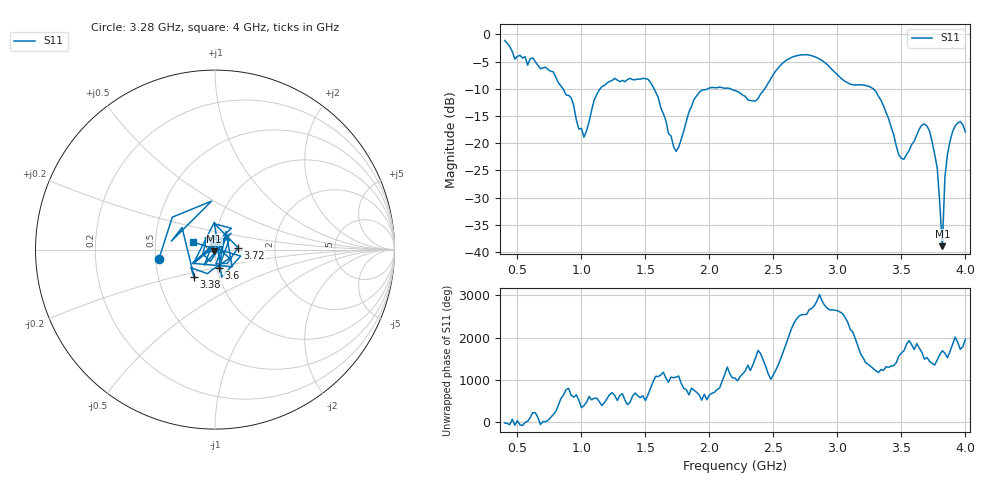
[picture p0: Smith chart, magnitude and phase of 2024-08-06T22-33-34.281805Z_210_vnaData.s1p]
!Created with skrf (http://scikit-rf.org).
# Hz S RI R 50.0
!freq ReS11 ImS11
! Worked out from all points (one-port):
!   181 points, 400 MHz to 4 GHz, reference 50 ohm
!   lowest |S11| = -38.9 dB at 3.82 GHz (marker M1), VSWR 1.02, Z = 49.6 - j1.05 ohm
!   |S11| at or under -10 dB: 856.5 MHz to 1.147 GHz (290.5 MHz wide, 29 % of centre); 1.567 GHz to 1.989 GHz (422.1 MHz wide, 23.7 % of centre); 3.279 GHz to end of sweep (the widest 3 of 4)
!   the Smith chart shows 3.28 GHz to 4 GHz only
!   S11 on the Smith chart (normalised r, x): 3.28 GHz: 0.52, -0.06; 3.38 GHz: 0.76, -0.24; 3.6 GHz: 1.02, -0.21; 3.72 GHz: 1.29, +0.03; 4 GHz: 0.78, +0.06
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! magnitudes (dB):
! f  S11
! 400 MHz  -1.1
! 480 MHz  -4.6
! 620 MHz  -4.3
! 860 MHz  -10.1
! 1.02 GHz  -18.9
! 1.14 GHz  -10.2
! 1.3 GHz  -8.7
! 1.52 GHz  -8.3
! 1.72 GHz  -20.6
! 1.76 GHz  -20.7
! 1.92 GHz  -10.7
! 2.2 GHz  -10.3
! 2.36 GHz  -12.3
! 2.66 GHz  -4.1
! 3.1 GHz  -9.2
! 3.28 GHz  -10.0
! 3.38 GHz  -14.4
! 3.48 GHz  -22.2
! 3.56 GHz  -21.4
! 3.6 GHz  -19.6
! 3.66 GHz  -16.7
! 3.72 GHz  -17.8
! 3.78 GHz  -24.6
! 3.82 GHz  -38.9
! 3.84 GHz  -26.2
! 3.88 GHz  -19.6
! 3.94 GHz  -16.3
! 4 GHz  -17.9
